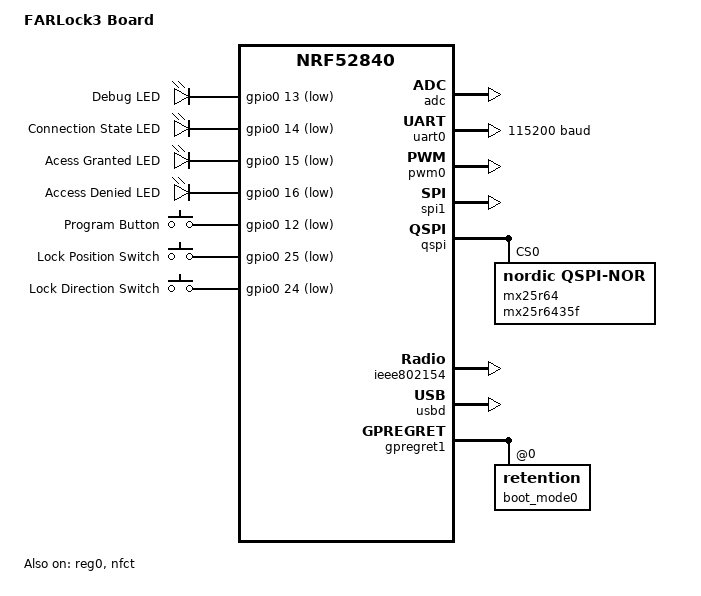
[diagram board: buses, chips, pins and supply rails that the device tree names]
/dts-v1/;
#include <nordic/nrf52840_qiaa.dtsi>
#include <nordic/nrf52840_partition.dtsi>
#include "farlock3-pinctrl.dtsi"
#include <zephyr/dt-bindings/input/input-event-codes.h>

/ {
	model = "FARLock3 Board";
	compatible = "frazieje,farlock3";

	chosen {
		zephyr,console = &uart0;
		zephyr,shell-uart = &uart0;
		zephyr,uart-mcumgr = &uart0;
		zephyr,bt-mon-uart = &uart0;
		zephyr,bt-c2h-uart = &uart0;
		zephyr,ieee802154 = &ieee802154;
		zephyr,boot-mode = &boot_mode0;
	};

	leds {
		compatible = "gpio-leds";
		led0: led_0 {
			gpios = <&gpio0 13 GPIO_ACTIVE_LOW>;
			label = "Debug LED";
		};
		led1: led_1 {
			gpios = <&gpio0 14 GPIO_ACTIVE_LOW>;
			label = "Connection State LED";
		};
		led2: led_2 {
			gpios = <&gpio0 15 GPIO_ACTIVE_LOW>;
			label = "Acess Granted LED";
		};
		led3: led_3 {
			gpios = <&gpio0 16 GPIO_ACTIVE_LOW>;
			label = "Access Denied LED";
		};
	};

	buttons {
		compatible = "gpio-keys";
		button0: button_0 {
			gpios = <&gpio0 12 (GPIO_PULL_UP | GPIO_ACTIVE_LOW)>;
			label = "Program Button";
			zephyr,code = <INPUT_KEY_0>;
		};
		button1: button_1 {
			gpios = <&gpio0 25 (GPIO_PULL_UP | GPIO_ACTIVE_LOW)>;
			label = "Lock Position Switch";
			zephyr,code = <INPUT_KEY_1>;
		};
		button2: button_2 {
			gpios = <&gpio0 24 (GPIO_PULL_UP | GPIO_ACTIVE_LOW)>;
			label = "Lock Direction Switch";
			zephyr,code = <INPUT_KEY_2>;
		};
	};
};


&reg0 {
	status = "okay";
};

&reg1 {
	regulator-initial-mode = <NRF5X_REG_MODE_DCDC>;
};

&adc {
	status = "okay";
};

&uicr {
	gpio-as-nreset;
};

&gpiote {
	status = "okay";
};

&nfct {
	status = "okay";
};

&gpio0 {
	status = "okay";
	gpio-reserved-ranges = <0 2>, <6 1>, <8 3>, <17 7>;
	gpio-line-names = "XL1", "XL2", "AREF", "A0", "A1", "RTS", "TXD",
					  "CTS", "RXD", "NFC1", "NFC2", "BUTTON1", "BUTTON2", "LED1",
					  "LED2", "LED3", "LED4", "QSPI CS", "RESET", "QSPI CLK",
					  "QSPI DIO0", "QSPI DIO1", "QSPI DIO2", "QSPI DIO3","BUTTON3",
					  "BUTTON4", "SDA", "SCL", "A2", "A3", "A4", "A5";
};

&gpio1 {
	status = "okay";
	gpio-line-names = "", "D0", "D1", "D2", "D3", "D4", "D5", "D6",
					  "D7", "", "D8", "D9", "D10", "D11", "D12", "D13";
};

&uart0 {
	compatible = "nordic,nrf-uarte";
	status = "okay";
	current-speed = <115200>;
	pinctrl-0 = <&uart0_default>;
	pinctrl-1 = <&uart0_sleep>;
	pinctrl-names = "default", "sleep";
};

&i2c1 {
	compatible = "nordic,nrf-twi";
	/* Cannot be used together with spi1. */
	/* status = "okay"; */
	pinctrl-0 = <&i2c1_default>;
	pinctrl-1 = <&i2c1_sleep>;
	pinctrl-names = "default", "sleep";
};

&pwm0 {
	status = "okay";
	pinctrl-0 = <&pwm0_default>;
	pinctrl-1 = <&pwm0_sleep>;
	pinctrl-names = "default", "sleep";
};

&spi0 {
	compatible = "nordic,nrf-spi";
	/* Cannot be used together with i2c0. */
	/* status = "okay"; */
	pinctrl-0 = <&spi0_default>;
	pinctrl-1 = <&spi0_sleep>;
	pinctrl-names = "default", "sleep";
};

&spi1 {
	compatible = "nordic,nrf-spi";
	status = "okay";
	pinctrl-0 = <&spi1_default>;
	pinctrl-1 = <&spi1_sleep>;
	pinctrl-names = "default", "sleep";
};

&spi2 {
	compatible = "nordic,nrf-spi";
	status = "disabled";
	pinctrl-0 = <&spi2_default>;
	pinctrl-1 = <&spi2_sleep>;
	pinctrl-names = "default", "sleep";
};

&qspi {
	status = "okay";
	pinctrl-0 = <&qspi_default>;
	pinctrl-1 = <&qspi_sleep>;
	pinctrl-names = "default", "sleep";

	mx25r64: mx25r6435f@0 {
		compatible = "nordic,qspi-nor";
		reg = <0>;
		/* MX25R64 supports only pp and pp4io */
		writeoc = "pp4io";
		/* MX25R64 supports all readoc options */
		readoc = "read4io";
		sck-frequency = <8000000>;
		jedec-id = [c2 28 17];
		sfdp-bfp = [
						   e5 20 f1 ff  ff ff ff 03  44 eb 08 6b  08 3b 04 bb
						   ee ff ff ff  ff ff 00 ff  ff ff 00 ff  0c 20 0f 52
						   10 d8 00 ff  23 72 f5 00  82 ed 04 cc  44 83 68 44
						   30 b0 30 b0  f7 c4 d5 5c  00 be 29 ff  f0 d0 ff ff
				   ];
		size = <67108864>;
		has-dpd;
		t-enter-dpd = <10000>;
		t-exit-dpd = <35000>;
	};
};

&ieee802154 {
	status = "okay";
};

zephyr_udc0: &usbd {
	compatible = "nordic,nrf-usbd";
	status = "okay";
};

&gpregret1 {
	status = "okay";

	boot_mode0: boot_mode@0 {
		compatible = "zephyr,retention";
		status = "okay";
		reg = <0x0 0x1>;
	};
};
